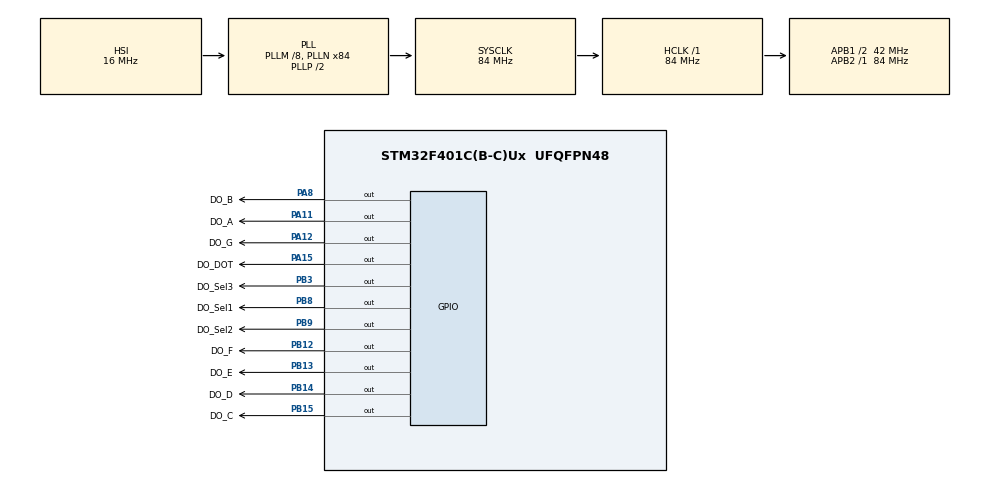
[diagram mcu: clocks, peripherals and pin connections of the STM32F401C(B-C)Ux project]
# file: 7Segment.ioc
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Mcu.Family=STM32F4
Mcu.Name=STM32F401C(B-C)Ux
Mcu.Package=UFQFPN48
NVIC.PriorityGroup=NVIC_PRIORITYGROUP_4
PA11.GPIO_Label=DO_A
PA11.Signal=GPIO_Output
PA12.GPIO_Label=DO_G
PA12.Signal=GPIO_Output
PA13.Mode=Serial_Wire
PA13.Signal=SYS_JTMS-SWDIO
PA14.Mode=Serial_Wire
PA14.Signal=SYS_JTCK-SWCLK
PA15.GPIO_Label=DO_DOT
PA15.Signal=GPIO_Output
PA8.GPIO_Label=DO_B
PA8.Signal=GPIO_Output
PB12.GPIO_Label=DO_F
PB12.Signal=GPIO_Output
PB13.GPIO_Label=DO_E
PB13.Signal=GPIO_Output
PB14.GPIO_Label=DO_D
PB14.Signal=GPIO_Output
PB15.GPIO_Label=DO_C
PB15.Signal=GPIO_Output
PB3.GPIO_Label=DO_Sel3
PB3.Signal=GPIO_Output
PB8.GPIO_Label=DO_Sel1
PB8.Signal=GPIO_Output
PB9.GPIO_Label=DO_Sel2
PB9.Signal=GPIO_Output
PH0\ -\ OSC_IN.Mode=HSE-External-Oscillator
PH0\ -\ OSC_IN.Signal=RCC_OSC_IN
PH1\ -\ OSC_OUT.Mode=HSE-External-Oscillator
PH1\ -\ OSC_OUT.Signal=RCC_OSC_OUT
ProjectManager.HeapSize=0x200
ProjectManager.StackSize=0x400
ProjectManager.TargetToolchain=STM32CubeIDE
RCC.48MHZClocksFreq_Value=42000000
RCC.AHBFreq_Value=84000000
RCC.APB1CLKDivider=RCC_HCLK_DIV2
RCC.APB1Freq_Value=42000000
RCC.APB1TimFreq_Value=84000000
RCC.APB2Freq_Value=84000000
RCC.APB2TimFreq_Value=84000000
RCC.CortexFreq_Value=84000000
RCC.HCLKFreq_Value=84000000
RCC.HSE_VALUE=25000000
RCC.HSI_VALUE=16000000
RCC.LSE_VALUE=32768
RCC.PLLM=8
RCC.PLLN=84
RCC.SYSCLKFreq_VALUE=84000000
RCC.SYSCLKSource=RCC_SYSCLKSOURCE_PLLCLK
RCC.VCOOutputFreq_Value=168000000
board=custom

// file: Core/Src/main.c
/* USER CODE BEGIN Header */
/**
  ******************************************************************************
  * @file           : main.c
  * @brief          : Main program body
  ******************************************************************************
  * @attention
  *
  * Copyright (c) 2024 STMicroelectronics.
  * All rights reserved.
  *
  * This software is licensed under terms that can be found in the LICENSE file
  * in the root directory of this software component.
  * If no LICENSE file comes with this software, it is provided AS-IS.
  *
  ******************************************************************************
  */
/* USER CODE END Header */
#include "main.h"

void SystemClock_Config(void);
static void MX_GPIO_Init(void);

int main(void)
{

  /* MCU Configuration--------------------------------------------------------*/

  /* Reset of all peripherals, Initializes the Flash interface and the Systick. */
  HAL_Init();

  /* Configure the system clock */
  SystemClock_Config();

  /* Initialize all configured peripherals */
  MX_GPIO_Init();
  /* USER CODE BEGIN 2 */
	uint8_t B_Shift=0;
	uint8_t B_Digit[3]={0,0,0};
	uint8_t B_Symbols[]={0xfc/*0*/,0x60/*1*/,0xda/*2*/,0xf2/*3*/,0x66/*4*/,0xb6/*5*/,0xbe/*6*/,0xe0/*7*/,0xfe/*8*/,0xf6/*9*/};
	const int _TIME=50;
	uint32_t Counter4time =_TIME;
	uint16_t Counter =0;
	uint16_t W_Word;
	uint8_t B_B;
  /* USER CODE END 2 */

  /* Infinite loop */
  /* USER CODE BEGIN WHILE */
  while (1)
  {
		// Disable 7-segment digits
		HAL_GPIO_WritePin(DO_Sel1_GPIO_Port, DO_Sel1_Pin, 0);
		HAL_GPIO_WritePin(DO_Sel2_GPIO_Port, DO_Sel2_Pin, 0);
		HAL_GPIO_WritePin(DO_Sel3_GPIO_Port, DO_Sel3_Pin, 0);
		// Update data
		B_B=B_Symbols[B_Digit[B_Shift]];
		HAL_GPIO_WritePin(DO_DOT_GPIO_Port, DO_DOT_Pin,(B_B)&1);
		HAL_GPIO_WritePin(DO_A_GPIO_Port, DO_A_Pin,(B_B>>7)&1);
		HAL_GPIO_WritePin(DO_B_GPIO_Port, DO_B_Pin,(B_B>>6)&1);
		HAL_GPIO_WritePin(DO_C_GPIO_Port, DO_C_Pin,(B_B>>5)&1);
		HAL_GPIO_WritePin(DO_D_GPIO_Port, DO_D_Pin,(B_B>>4)&1);
		HAL_GPIO_WritePin(DO_E_GPIO_Port, DO_E_Pin,(B_B>>3)&1);
		HAL_GPIO_WritePin(DO_F_GPIO_Port, DO_F_Pin,(B_B>>2)&1);
		HAL_GPIO_WritePin(DO_G_GPIO_Port, DO_G_Pin,(B_B>>1)&1);
		// Select digit
		if(B_Shift==0)
		{
			HAL_GPIO_WritePin(DO_Sel1_GPIO_Port, DO_Sel1_Pin, 1);
			B_Shift=1;
		}
		else if(B_Shift==1)
		{
			HAL_GPIO_WritePin(DO_Sel2_GPIO_Port, DO_Sel2_Pin, 1);
			B_Shift=2;
		}
		else if(B_Shift==2)
		{
			HAL_GPIO_WritePin(DO_Sel3_GPIO_Port, DO_Sel3_Pin, 1);
			B_Shift=0;
		}
		HAL_Delay(1);

		if(Counter4time==0)
		{
			Counter4time=_TIME;

			if(Counter==999)
				Counter=0;
			else
				Counter++;

			W_Word=Counter;
			B_Digit[0]=W_Word /100;
			W_Word=W_Word %100;
			B_Digit[1]=W_Word /10;
			W_Word=W_Word %10;
			B_Digit[2]=W_Word;

		}
		else
		{
			Counter4time--;
		}
    /* USER CODE END WHILE */

  }
}

void SystemClock_Config(void)
{
  RCC_OscInitTypeDef RCC_OscInitStruct = {0};
  RCC_ClkInitTypeDef RCC_ClkInitStruct = {0};

  /** Configure the main internal regulator output voltage
  */
  __HAL_RCC_PWR_CLK_ENABLE();
  __HAL_PWR_VOLTAGESCALING_CONFIG(PWR_REGULATOR_VOLTAGE_SCALE2);
  /** Initializes the RCC Oscillators according to the specified parameters
  * in the RCC_OscInitTypeDef structure.
  */
  RCC_OscInitStruct.OscillatorType = RCC_OSCILLATORTYPE_HSI;
  RCC_OscInitStruct.HSIState = RCC_HSI_ON;
  RCC_OscInitStruct.HSICalibrationValue = RCC_HSICALIBRATION_DEFAULT;
  RCC_OscInitStruct.PLL.PLLState = RCC_PLL_ON;
  RCC_OscInitStruct.PLL.PLLSource = RCC_PLLSOURCE_HSI;
  RCC_OscInitStruct.PLL.PLLM = 8;
  RCC_OscInitStruct.PLL.PLLN = 84;
  RCC_OscInitStruct.PLL.PLLP = RCC_PLLP_DIV2;
  RCC_OscInitStruct.PLL.PLLQ = 4;
  if (HAL_RCC_OscConfig(&RCC_OscInitStruct) != HAL_OK)
  {
    Error_Handler();
  }
  /** Initializes the CPU, AHB and APB buses clocks
  */
  RCC_ClkInitStruct.ClockType = RCC_CLOCKTYPE_HCLK|RCC_CLOCKTYPE_SYSCLK
                              |RCC_CLOCKTYPE_PCLK1|RCC_CLOCKTYPE_PCLK2;
  RCC_ClkInitStruct.SYSCLKSource = RCC_SYSCLKSOURCE_PLLCLK;
  RCC_ClkInitStruct.AHBCLKDivider = RCC_SYSCLK_DIV1;
  RCC_ClkInitStruct.APB1CLKDivider = RCC_HCLK_DIV2;
  RCC_ClkInitStruct.APB2CLKDivider = RCC_HCLK_DIV1;

  if (HAL_RCC_ClockConfig(&RCC_ClkInitStruct, FLASH_LATENCY_2) != HAL_OK)
  {
    Error_Handler();
  }
}

static void MX_GPIO_Init(void)
{
  GPIO_InitTypeDef GPIO_InitStruct = {0};

  /* GPIO Ports Clock Enable */
  __HAL_RCC_GPIOH_CLK_ENABLE();
  __HAL_RCC_GPIOB_CLK_ENABLE();
  __HAL_RCC_GPIOA_CLK_ENABLE();

  /*Configure GPIO pin Output Level */
  HAL_GPIO_WritePin(GPIOB, DO_F_Pin|DO_E_Pin|DO_D_Pin|DO_C_Pin
                          |DO_Sel3_Pin|DO_Sel1_Pin|DO_Sel2_Pin, GPIO_PIN_RESET);

  /*Configure GPIO pin Output Level */
  HAL_GPIO_WritePin(GPIOA, DO_B_Pin|DO_A_Pin|DO_G_Pin|DO_DOT_Pin, GPIO_PIN_RESET);

  /*Configure GPIO pins : DO_F_Pin DO_E_Pin DO_D_Pin DO_C_Pin
                           DO_Sel3_Pin DO_Sel1_Pin DO_Sel2_Pin */
  GPIO_InitStruct.Pin = DO_F_Pin|DO_E_Pin|DO_D_Pin|DO_C_Pin
                          |DO_Sel3_Pin|DO_Sel1_Pin|DO_Sel2_Pin;
  GPIO_InitStruct.Mode = GPIO_MODE_OUTPUT_PP;
  GPIO_InitStruct.Pull = GPIO_NOPULL;
  GPIO_InitStruct.Speed = GPIO_SPEED_FREQ_LOW;
  HAL_GPIO_Init(GPIOB, &GPIO_InitStruct);

  /*Configure GPIO pins : DO_B_Pin DO_A_Pin DO_G_Pin DO_DOT_Pin */
  GPIO_InitStruct.Pin = DO_B_Pin|DO_A_Pin|DO_G_Pin|DO_DOT_Pin;
  GPIO_InitStruct.Mode = GPIO_MODE_OUTPUT_PP;
  GPIO_InitStruct.Pull = GPIO_NOPULL;
  GPIO_InitStruct.Speed = GPIO_SPEED_FREQ_LOW;
  HAL_GPIO_Init(GPIOA, &GPIO_InitStruct);

}

void Error_Handler(void)
{
  __disable_irq();
  while (1)
  {
  }
}
